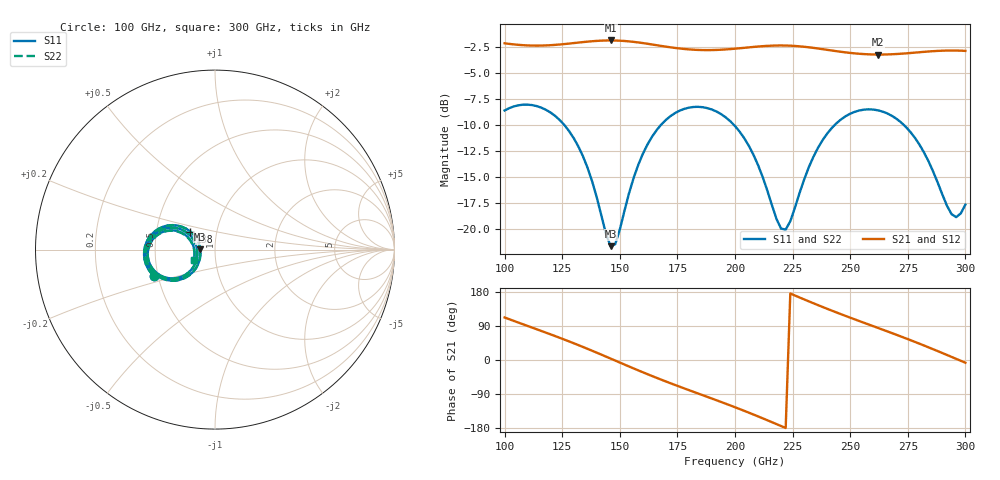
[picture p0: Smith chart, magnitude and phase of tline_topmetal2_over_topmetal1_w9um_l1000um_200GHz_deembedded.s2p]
! Created with skrf 2.2.0 (http://scikit-rf.org).
# GHz S DB R 50.0
! Port[1] = P1
! Port[2] = P2
!freq dBS11 angS11 dBS21 angS21 dBS12 angS12 dBS22 angS22
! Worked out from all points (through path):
!   101 points, 100 GHz to 300 GHz, reference 50 ohm
!   highest |S21| = -1.87 dB at 146 GHz (marker M1); lowest = -3.2 dB at 262 GHz (marker M2)
!   group delay of S21, straight-line fit = 6.68 ps
!   lowest |S11| = -21.6 dB at 146 GHz (marker M3), VSWR 1.18, Z = 42.4 + j0.351 ohm
!   |S11| at or under -10 dB: 125.9 GHz to 167.8 GHz (41.86 GHz wide, 28.5 % of centre); 199.6 GHz to 243.3 GHz (43.67 GHz wide, 19.7 % of centre); 273.3 GHz to end of sweep
!   |S22| runs from -21.7 to -8.0 dB; largest |S21 - S12| = 8.9e-14
!   S11 on the Smith chart (normalised r, x): 100 GHz: 0.47, -0.16; 138 GHz: 0.75, +0.15; 300 GHz: 0.78, -0.09
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100  -8.60 -157.1  -2.14 112.3  -2.14 112.3  -8.60 -157.0
108  -8.04 -172.0  -2.33 94.3  -2.33 94.3  -8.04 -171.9
118  -8.54 169.9  -2.35 72.0  -2.35 72.0  -8.54 170.0
134  -12.99 145.3  -2.03 34.4  -2.03 34.4  -12.99 145.4
138  -15.41 143.8  -1.95 24.4  -1.95 24.4  -15.41 143.8
146  -21.63 177.2  -1.87 3.8  -1.87 3.8  -21.65 177.2
148  -21.44 -163.4  -1.88 -1.5  -1.88 -1.5  -21.47 -163.2
156  -15.08 -134.6  -2.01 -22.2  -2.01 -22.2  -15.08 -134.4
168  -9.95 -147.9  -2.40 -51.9  -2.40 -51.9  -9.95 -147.7
184  -8.25 -175.2  -2.78 -88.4  -2.78 -88.4  -8.25 -174.9
200  -10.09 158.7  -2.66 -124.6  -2.66 -124.6  -10.09 159.0
208  -12.85 149.5  -2.50 -143.9  -2.50 -143.9  -12.85 149.8
220  -19.95 176.0  -2.35 -174.3  -2.35 -174.3  -19.93 176.4
224  -19.24 -156.2  -2.38 175.4  -2.38 175.4  -19.22 -155.9
234  -13.06 -139.9  -2.58 149.9  -2.58 149.9  -13.06 -139.6
248  -9.15 -157.8  -3.02 116.3  -3.02 116.3  -9.15 -157.5
262  -8.58 179.8  -3.23 84.8  -3.23 84.8  -8.57 -179.8
268  -9.10 170.5  -3.20 71.3  -3.20 71.3  -9.09 170.9
278  -11.20 157.1  -3.04 48.0  -3.04 48.0  -11.18 157.6
286  -14.46 153.5  -2.90 28.4  -2.90 28.4  -14.43 154.0
294  -18.56 174.6  -2.84 8.2  -2.84 8.2  -18.49 175.1
300  -17.64 -154.2  -2.88 -7.2  -2.88 -7.2  -17.58 -154.0
